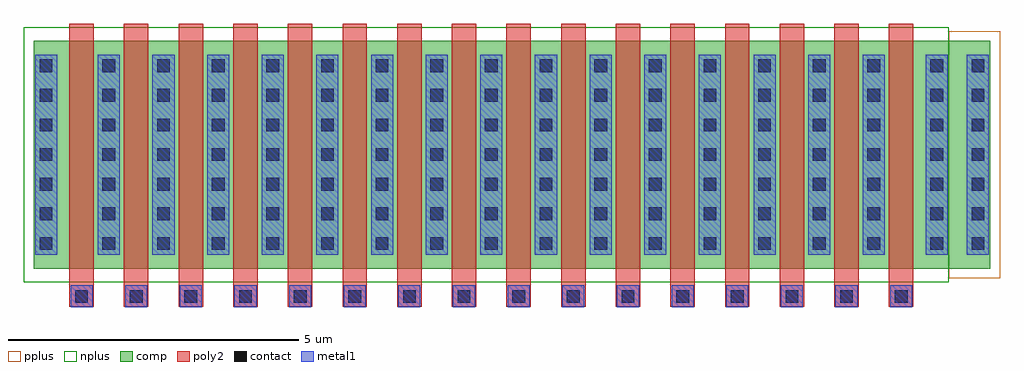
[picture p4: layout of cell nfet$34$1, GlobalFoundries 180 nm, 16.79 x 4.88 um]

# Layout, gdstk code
import gdstk
lib = gdstk.Library(unit=1e-6, precision=5e-09)
def R(c, l, rs):  # rectangles x0, y0, x1, y1
    for r in rs: c.add(gdstk.rectangle(r[:2], r[2:], *l))
def A(c, l, x, y, w, h, nx, ny, dx, dy):  # array of equal rectangles
    R(c, l, [(x+i*dx, y+j*dy, x+i*dx+w, y+j*dy+h) for i in range(nx) for j in range(ny)])
comp = (22, 0)
poly2 = (30, 0)
pplus = (31, 0)
nplus = (32, 0)
contact = (33, 0)
metal1 = (34, 0)

nfet_34_1 = lib.new_cell('nfet$34$1')
R(nfet_34_1, comp, [(-0.42,0,0,3.915), (0,0,14.9,3.915), (14.9,0,15.32,3.915), (15.32,0,16.03,3.915)])
A(nfet_34_1, poly2, 0.19, -0.66, 0.42, 0.36, 16, 1, 0.94, 0)
A(nfet_34_1, poly2, 0.19, -0.3, 0.42, 4.515, 16, 1, 0.94, 0)
R(nfet_34_1, pplus, [(15.32,-0.17,16.2,4.085)])
R(nfet_34_1, nplus, [(-0.59,-0.24,15.32,4.155)])
A(nfet_34_1, contact, 0.29, -0.59, 0.22, 0.22, 16, 1, 0.94, 0)
A(nfet_34_1, contact, -0.32, 0.32, 0.22, 0.22, 1, 7, 0, 0.51)
A(nfet_34_1, contact, 0.76, 0.32, 0.22, 0.22, 15, 7, 0.94, 0.51)
A(nfet_34_1, contact, 15, 0.32, 0.22, 0.22, 1, 7, 0, 0.51)
A(nfet_34_1, contact, 15.71, 0.32, 0.22, 0.22, 1, 7, 0, 0.51)
A(nfet_34_1, metal1, 0.21, -0.67, 0.38, 0.38, 16, 1, 0.94, 0)
A(nfet_34_1, metal1, 0.68, 0.24, 0.38, 3.44, 15, 1, 0.94, 0)
R(nfet_34_1, metal1, [(-0.4,0.24,-0.02,3.68), (14.92,0.24,15.3,3.68), (15.63,0.24,16.01,3.68)])

lib.write_gds('nfet_34_1.gds')
